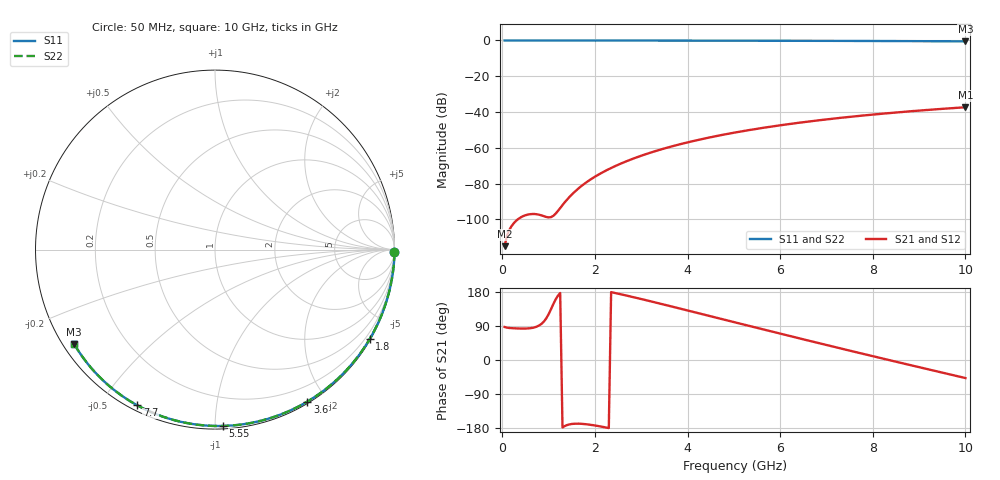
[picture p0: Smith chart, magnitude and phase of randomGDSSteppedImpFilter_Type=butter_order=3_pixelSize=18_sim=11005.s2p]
! freq	dB(S11)	phase(S11)	dB(S12)	phase(S12)
!  dB(S21)	phase(S21)	dB(S22)	phase(S22)
!S-par simulation data
#  GHz  S  DB  R 50
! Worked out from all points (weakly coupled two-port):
!   200 points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, 50 MHz to 10 GHz, reference 50 ohm
!   highest |S21| = -37.33 dB at 10 GHz (marker M1); lowest = -114.9 dB at 50 MHz (marker M2)
!   lowest |S11| = -0.5 dB at 10 GHz (marker M3), VSWR 35.19, Z = 1.55 - j15.2 ohm
!   |S11| at or under -10 dB: nowhere
!   |S22| runs from -0.5 to 0.0 dB; largest |S21 - S12| = 0
!   S11 on the Smith chart (normalised r, x): 50 MHz: open; 1.8 GHz: 0.03, -3.72; 3.6 GHz: 0.02, -1.78; 5.55 GHz: 0.02, -1.05; 7.7 GHz: 0.02, -0.62; 10 GHz: 0.03, -0.30
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0.05  -0.00 -0.9  -114.95 87.1  -114.95 87.1  -0.00 -0.9
0.45  -0.01 -7.6  -98.17 82.9  -98.17 82.9  -0.01 -7.6
0.9  -0.02 -15.2  -98.21 101.8  -98.21 101.8  -0.02 -15.2
1.3  -0.03 -21.9  -91.98 -177.9  -91.98 -177.9  -0.03 -21.9
1.75  -0.04 -29.3  -80.51 -168.8  -80.51 -168.8  -0.04 -29.3
1.8  -0.04 -30.1  -79.56 -169.3  -79.56 -169.3  -0.04 -30.1
1.95  -0.04 -32.6  -76.94 -171.8  -76.94 -171.8  -0.04 -32.6
2.1  -0.04 -35.0  -74.63 -174.9  -74.63 -174.9  -0.04 -35.0
2.3  -0.05 -38.2  -71.90 -179.6  -71.90 -179.6  -0.05 -38.2
2.5  -0.05 -41.4  -69.47 175.1  -69.47 175.1  -0.05 -41.4
2.9  -0.06 -47.8  -65.33 163.8  -65.33 163.8  -0.06 -47.8
3.4  -0.07 -55.6  -61.09 149.0  -61.09 149.0  -0.07 -55.6
3.6  -0.08 -58.7  -59.62 143.0  -59.62 143.0  -0.08 -58.7
4.3  -0.10 -69.3  -55.17 121.6  -55.17 121.6  -0.10 -69.3
5.05  -0.12 -80.3  -51.33 98.6  -51.33 98.6  -0.12 -80.3
5.55  -0.14 -87.4  -49.16 83.3  -49.16 83.3  -0.14 -87.4
6.1  -0.17 -95.1  -47.05 66.6  -47.05 66.6  -0.17 -95.1
6.7  -0.20 -103.2  -45.03 48.5  -45.03 48.5  -0.20 -103.2
7.7  -0.27 -116.5  -42.17 18.9  -42.17 18.9  -0.27 -116.5
8.35  -0.32 -125.0  -40.59 -0.1  -40.59 -0.1  -0.32 -125.0
9.2  -0.40 -135.9  -38.79 -24.7  -38.79 -24.7  -0.40 -135.9
10  -0.49 -146.2  -37.33 -47.6  -37.33 -47.6  -0.49 -146.2
